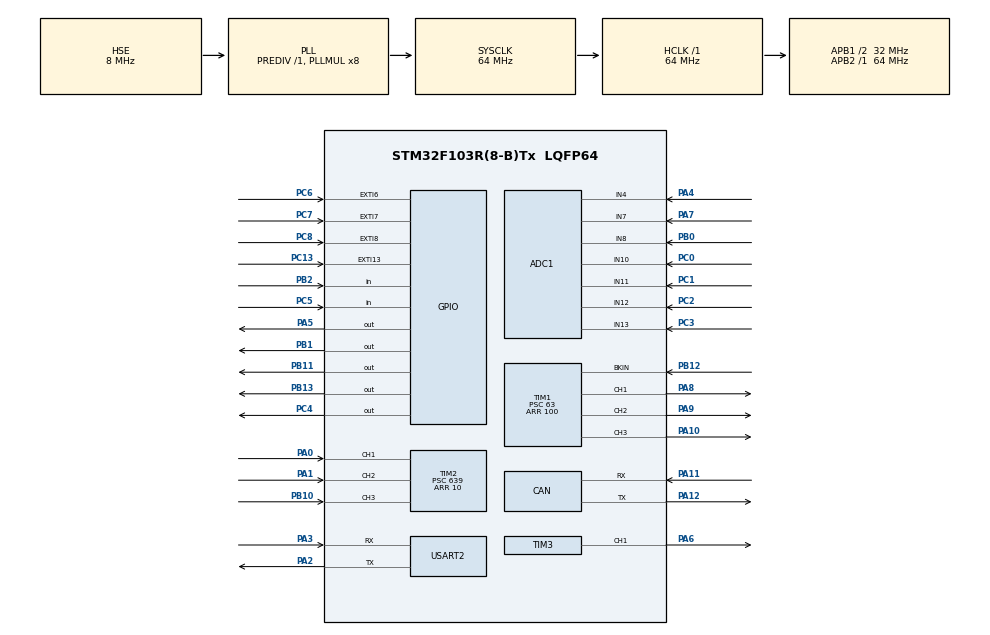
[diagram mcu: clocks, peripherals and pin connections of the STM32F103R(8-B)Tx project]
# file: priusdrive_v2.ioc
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ADC1.Channel-0\#ChannelRegularConversion=ADC_CHANNEL_4
ADC1.Channel-1\#ChannelRegularConversion=ADC_CHANNEL_7
ADC1.Channel-2\#ChannelRegularConversion=ADC_CHANNEL_8
ADC1.Channel-3\#ChannelRegularConversion=ADC_CHANNEL_10
ADC1.Channel-4\#ChannelRegularConversion=ADC_CHANNEL_11
ADC1.Channel-5\#ChannelRegularConversion=ADC_CHANNEL_12
ADC1.Channel-6\#ChannelRegularConversion=ADC_CHANNEL_13
ADC1.ContinuousConvMode=ENABLE
ADC1.DataAlign=ADC_DATAALIGN_RIGHT
ADC1.DiscontinuousConvMode=DISABLE
ADC1.EnableAnalogWatchDog=false
ADC1.EnableRegularConversion=ENABLE
ADC1.ExternalTrigConv=ADC_SOFTWARE_START
ADC1.InjNumberOfConversion=0
ADC1.NbrOfConversion=7
ADC1.NbrOfConversionFlag=1
ADC1.Rank-0\#ChannelRegularConversion=1
ADC1.Rank-1\#ChannelRegularConversion=2
ADC1.Rank-2\#ChannelRegularConversion=3
ADC1.Rank-3\#ChannelRegularConversion=4
ADC1.Rank-4\#ChannelRegularConversion=5
ADC1.Rank-5\#ChannelRegularConversion=6
ADC1.Rank-6\#ChannelRegularConversion=7
ADC1.SamplingTime-0\#ChannelRegularConversion=ADC_SAMPLETIME_28CYCLES_5
ADC1.SamplingTime-1\#ChannelRegularConversion=ADC_SAMPLETIME_28CYCLES_5
ADC1.SamplingTime-2\#ChannelRegularConversion=ADC_SAMPLETIME_28CYCLES_5
ADC1.SamplingTime-3\#ChannelRegularConversion=ADC_SAMPLETIME_28CYCLES_5
ADC1.SamplingTime-4\#ChannelRegularConversion=ADC_SAMPLETIME_28CYCLES_5
ADC1.SamplingTime-5\#ChannelRegularConversion=ADC_SAMPLETIME_28CYCLES_5
ADC1.SamplingTime-6\#ChannelRegularConversion=ADC_SAMPLETIME_28CYCLES_5
ADC1.ScanConvMode=ADC_SCAN_ENABLE
ADC1.master=1
CAN.ABOM=ENABLE
CAN.BS1=CAN_BS1_1TQ
CAN.BS2=CAN_BS2_1TQ
CAN.CalculateTimeBit=1500
CAN.CalculateTimeQuantum=500.0
Mcu.Family=STM32F1
Mcu.Name=STM32F103R(8-B)Tx
Mcu.Package=LQFP64
NVIC.ADC1_2_IRQn=true\:0\:0\:false\:false\:true\:true\:true
NVIC.PriorityGroup=NVIC_PRIORITYGROUP_4
NVIC.TIM1_TRG_COM_IRQn=true\:0\:0\:false\:false\:true\:true\:true
NVIC.TIM2_IRQn=true\:0\:0\:false\:false\:true\:true\:true
NVIC.USART2_IRQn=true\:0\:0\:false\:false\:true\:true\:true
PA0-WKUP.Signal=S_TIM2_CH1_ETR
PA1.Signal=S_TIM2_CH2
PA10.GPIO_ModeDefaultPP=GPIO_MODE_AF_PP
PA10.GPIO_Speed=GPIO_SPEED_FREQ_LOW
PA10.Signal=S_TIM1_CH3
PA11.Mode=Master
PA11.Signal=CAN_RX
PA12.Mode=Master
PA12.Signal=CAN_TX
PA13.Mode=Serial_Wire
PA13.Signal=SYS_JTMS-SWDIO
PA14.Mode=Serial_Wire
PA14.Signal=SYS_JTCK-SWCLK
PA2.GPIO_Mode=GPIO_MODE_AF_PP
PA2.GPIO_PuPd=GPIO_NOPULL
PA2.GPIO_Speed=GPIO_SPEED_FREQ_HIGH
PA2.Mode=Asynchronous
PA2.Signal=USART2_TX
PA3.GPIO_Mode=GPIO_MODE_INPUT
PA3.GPIO_PuPd=GPIO_NOPULL
PA3.GPIO_Speed=GPIO_SPEED_FREQ_LOW
PA3.Mode=Asynchronous
PA3.Signal=USART2_RX
PA4.GPIO_Mode=GPIO_MODE_ANALOG
PA4.Signal=ADCx_IN4
PA5.GPIO_ModeDefaultOutputPP=GPIO_MODE_OUTPUT_PP
PA5.GPIO_PuPd=GPIO_NOPULL
PA5.GPIO_Speed=GPIO_SPEED_FREQ_LOW
PA5.PinState=GPIO_PIN_RESET
PA5.Signal=GPIO_Output
PA6.GPIO_ModeDefaultPP=GPIO_MODE_AF_PP
PA6.GPIO_Speed=GPIO_SPEED_FREQ_LOW
PA6.Signal=S_TIM3_CH1
PA7.GPIO_Mode=GPIO_MODE_ANALOG
PA7.Signal=ADCx_IN7
PA8.GPIO_ModeDefaultPP=GPIO_MODE_AF_PP
PA8.GPIO_Speed=GPIO_SPEED_FREQ_LOW
PA8.Signal=S_TIM1_CH1
PA9.GPIO_ModeDefaultPP=GPIO_MODE_AF_PP
PA9.GPIO_Speed=GPIO_SPEED_FREQ_LOW
PA9.Signal=S_TIM1_CH2
PB0.GPIO_Mode=GPIO_MODE_ANALOG
PB0.Signal=ADCx_IN8
PB1.GPIO_ModeDefaultOutputPP=GPIO_MODE_OUTPUT_PP
PB1.GPIO_PuPd=GPIO_NOPULL
PB1.GPIO_Speed=GPIO_SPEED_FREQ_LOW
PB1.PinState=GPIO_PIN_RESET
PB1.Signal=GPIO_Output
PB10.Signal=S_TIM2_CH3
PB11.GPIO_ModeDefaultOutputPP=GPIO_MODE_OUTPUT_PP
PB11.GPIO_PuPd=GPIO_NOPULL
PB11.GPIO_Speed=GPIO_SPEED_FREQ_LOW
PB11.PinState=GPIO_PIN_RESET
PB11.Signal=GPIO_Output
PB12.Mode=Activate-Break-Input
PB12.Signal=TIM1_BKIN
PB13.GPIO_ModeDefaultOutputPP=GPIO_MODE_OUTPUT_PP
PB13.GPIO_PuPd=GPIO_NOPULL
PB13.GPIO_Speed=GPIO_SPEED_FREQ_LOW
PB13.PinState=GPIO_PIN_RESET
PB13.Signal=GPIO_Output
PB2.GPIO_Mode=GPIO_MODE_INPUT
PB2.GPIO_PuPd=GPIO_NOPULL
PB2.Signal=GPIO_Input
PB3.Signal=SYS_JTDO-TRACESWO
PC0.GPIO_Mode=GPIO_MODE_ANALOG
PC0.Signal=ADCx_IN10
PC1.GPIO_Mode=GPIO_MODE_ANALOG
PC1.Signal=ADCx_IN11
PC13-TAMPER-RTC.GPIO_ModeDefaultEXTI=GPIO_MODE_IT_RISING
PC13-TAMPER-RTC.GPIO_PuPd=GPIO_NOPULL
PC13-TAMPER-RTC.Signal=GPXTI13
PC14-OSC32_IN.Mode=LSE-External-Oscillator
PC14-OSC32_IN.Signal=RCC_OSC32_IN
PC15-OSC32_OUT.Mode=LSE-External-Oscillator
PC15-OSC32_OUT.Signal=RCC_OSC32_OUT
PC2.GPIO_Mode=GPIO_MODE_ANALOG
PC2.Signal=ADCx_IN12
PC3.GPIO_Mode=GPIO_MODE_ANALOG
PC3.Signal=ADCx_IN13
PC4.GPIO_ModeDefaultOutputPP=GPIO_MODE_OUTPUT_PP
PC4.GPIO_PuPd=GPIO_NOPULL
PC4.GPIO_Speed=GPIO_SPEED_FREQ_LOW
PC4.PinState=GPIO_PIN_RESET
PC4.Signal=GPIO_Output
PC5.GPIO_Mode=GPIO_MODE_INPUT
PC5.GPIO_PuPd=GPIO_NOPULL
PC5.Signal=GPIO_Input
PC6.GPIO_ModeDefaultEXTI=GPIO_MODE_IT_RISING
PC6.GPIO_PuPd=GPIO_NOPULL
PC6.Signal=GPXTI6
PC7.GPIO_ModeDefaultEXTI=GPIO_MODE_IT_RISING
PC7.GPIO_PuPd=GPIO_NOPULL
PC7.Signal=GPXTI7
PC8.GPIO_ModeDefaultEXTI=GPIO_MODE_IT_RISING
PC8.GPIO_PuPd=GPIO_NOPULL
PC8.Signal=GPXTI8
PD0-OSC_IN.Mode=HSE-External-Clock-Source
PD0-OSC_IN.Signal=RCC_OSC_IN
PD1-OSC_OUT.Mode=HSE-External-Clock-Source
PD1-OSC_OUT.Signal=RCC_OSC_OUT
ProjectManager.HeapSize=0x200
ProjectManager.StackSize=0x400
ProjectManager.TargetToolchain=SW4STM32
RCC.ADCPresc=RCC_ADCPCLK2_DIV8
RCC.AHBFreq_Value=64000000
RCC.APB1CLKDivider=RCC_HCLK_DIV2
RCC.APB1Freq_Value=32000000
RCC.APB1TimFreq_Value=64000000
RCC.APB2Freq_Value=64000000
RCC.APB2TimFreq_Value=64000000
RCC.HCLKFreq_Value=64000000
RCC.PLLMUL=RCC_PLL_MUL8
RCC.PLLSourceVirtual=RCC_PLLSOURCE_HSE
RCC.RTCClockSelection=RCC_RTCCLKSOURCE_LSE
RCC.SYSCLKFreq_VALUE=64000000
RCC.SYSCLKSource=RCC_SYSCLKSOURCE_PLLCLK
RCC.USBFreq_Value=64000000
SH.ADCx_IN10.0=ADC1_IN10,IN10
SH.ADCx_IN11.0=ADC1_IN11,IN11
SH.ADCx_IN12.0=ADC1_IN12,IN12
SH.ADCx_IN13.0=ADC1_IN13,IN13
SH.ADCx_IN4.0=ADC1_IN4,IN4
SH.ADCx_IN7.0=ADC1_IN7,IN7
SH.ADCx_IN8.0=ADC1_IN8,IN8
SH.S_TIM1_CH1.0=TIM1_CH1,PWM Generation1 CH1
SH.S_TIM1_CH2.0=TIM1_CH2,PWM Generation2 CH2
SH.S_TIM1_CH3.0=TIM1_CH3,PWM Generation3 CH3
SH.S_TIM2_CH1_ETR.0=TIM2_CH1,Xored_Inputs_Hall_Sensor_Interface
SH.S_TIM2_CH2.0=TIM2_CH2,Xored_Inputs_Hall_Sensor_Interface
SH.S_TIM2_CH3.0=TIM2_CH3,Xored_Inputs_Hall_Sensor_Interface
SH.S_TIM3_CH1.0=TIM3_CH1,PWM Generation1 CH1
TIM1.AutomaticOutput=TIM_AUTOMATICOUTPUT_ENABLE
TIM1.BreakState=TIM_BREAK_DISABLE
TIM1.Channel-PWM\ Generation1\ CH1=TIM_CHANNEL_1
TIM1.Channel-PWM\ Generation2\ CH2=TIM_CHANNEL_2
TIM1.Channel-PWM\ Generation3\ CH3=TIM_CHANNEL_3
TIM1.Period=100
TIM1.Prescaler=63
TIM1.TIM_MasterOutputTrigger=TIM_TRGO_OC2REF
TIM2.IC1Filter=1
TIM2.IC1Prescaler=TIM_ICPSC_DIV1
TIM2.Period=10
TIM2.Prescaler=639
TIM3.Channel-PWM\ Generation1\ CH1=TIM_CHANNEL_1
TIM3.Period=500
TIM3.Prescaler=63
USART2.VirtualMode=VM_ASYNC
VP_TIM1_VS_ClockSourceINT.Mode=Internal
VP_TIM1_VS_ClockSourceITR.Mode=TriggerSource_ITR2
VP_TIM1_VS_ControllerModeTrigger.Mode=Trigger Mode
VP_TIM2_VS_ClockSourceINT.Mode=Internal
board=NUCLEO-F103RB

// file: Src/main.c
/* USER CODE BEGIN Header */
/**
  ******************************************************************************
  * @file           : main.c
  * @brief          : Main program body
  ******************************************************************************
  * @attention
  *
  * <h2><center>&copy; Copyright (c) 2019 STMicroelectronics.
  * All rights reserved.</center></h2>
  *
  * This software component is licensed by ST under BSD 3-Clause license,
  * the "License"; You may not use this file except in compliance with the
  * License. You may obtain a copy of the License at:
  *                        opensource.org/licenses/BSD-3-Clause
  *
  ******************************************************************************
  */
/* USER CODE END Header */

#include "main.h"
#include "adc.h"
#include "can.h"
#include "tim.h"
#include "usart.h"
#include "gpio.h"

/* USER CODE BEGIN Includes */
#include <stdint.h>
#include "printf.h"
#include <string.h>

/* USER CODE END Includes */

/* USER CODE BEGIN PV */
/* Private variables ---------------------------------------------------------*/
uint8_t HallPos = 0;

uint8_t step = 0;

uint8_t pwm = 170;

#define PWM_INVERTED

/*
static const uint8_t COMM_TABLE[8][3] = {
		//U, V, W
		{0, 0, 0},
		{0, 0, 1},
		{0, 1, 1},
		{0, 1, 0},
		{1, 1, 0},
		{1, 0, 0},
		{1, 0, 1},
		{1, 1, 1}
};
*/

static const uint8_t COMM_TABLE[8][3] = {
		//U, V, W
		{0, 0, 0},
		{1, 0, 0},
		{1, 1, 0},
		{0, 1, 0},
		{0, 1, 1},
		{0, 0, 1},
		{1, 0, 1},
		{0, 0, 0}
};

/* USER CODE END PV */

void SystemClock_Config(void);
/* USER CODE BEGIN PFP */
/* Private function prototypes -----------------------------------------------*/
void UART_putc(void* p, char c);

/* USER CODE END PFP */

int main(void)
{

  /* MCU Configuration--------------------------------------------------------*/

  /* Reset of all peripherals, Initializes the Flash interface and the Systick. */
  HAL_Init();

  /* Configure the system clock */
  SystemClock_Config();

  /* Initialize all configured peripherals */
  MX_GPIO_Init();
  MX_USART2_UART_Init();
  MX_TIM2_Init();
  MX_TIM1_Init();
  MX_TIM3_Init();
  MX_CAN_Init();
  MX_ADC1_Init();
  HAL_TIMEx_ConfigCommutationEvent_IT(&htim1, TIM_TS_ITR1, TIM_COMMUTATION_TRGI);
  /* USER CODE BEGIN 2 */

  init_printf(NULL, UART_putc);

  DBG_PRINTF("Done peripheral init\r\n");

  TIM1->CCR1 = pwm;
  TIM1->CCR2 = pwm;
  TIM1->CCR3 = pwm;

  HAL_TIM_PWM_Start(&htim1, TIM_CHANNEL_1);
  HAL_TIM_PWM_Start(&htim1, TIM_CHANNEL_2);
  HAL_TIM_PWM_Start(&htim1, TIM_CHANNEL_3);

  HAL_TIMEx_HallSensor_Start_IT(&htim2);

  /* USER CODE END 2 */

  /* Infinite loop */
  while (1)
  {

    /* USER CODE BEGIN 3 */

	  	uint8_t BU = COMM_TABLE[step][0];
	  	uint8_t BV = COMM_TABLE[step][1];
	  	uint8_t BW = COMM_TABLE[step][2];

	  	if(!BU) HAL_TIM_PWM_Stop(&htim1, TIM_CHANNEL_1);
	  	if(!BV) HAL_TIM_PWM_Stop(&htim1, TIM_CHANNEL_2);
	  	if(!BW) HAL_TIM_PWM_Stop(&htim1, TIM_CHANNEL_3);

	  	if(BU)
	  	{
	  		HAL_TIM_PWM_Start(&htim1, TIM_CHANNEL_1);
	  	}

	  	if(BV)
	  	{
	  		HAL_TIM_PWM_Start(&htim1, TIM_CHANNEL_2);
	  	}

	  	if(BW)
	  	{
	  		HAL_TIM_PWM_Start(&htim1, TIM_CHANNEL_3);
	  	}

	  	TIM1->CCR1 = pwm;
	  	TIM1->CCR2 = pwm;
	  	TIM1->CCR3 = pwm;

  }
  /* USER CODE END 3 */
}

void SystemClock_Config(void)
{
  RCC_OscInitTypeDef RCC_OscInitStruct = {0};
  RCC_ClkInitTypeDef RCC_ClkInitStruct = {0};
  RCC_PeriphCLKInitTypeDef PeriphClkInit = {0};

  /** Initializes the CPU, AHB and APB busses clocks
  */
  RCC_OscInitStruct.OscillatorType = RCC_OSCILLATORTYPE_HSE;
  RCC_OscInitStruct.HSEState = RCC_HSE_BYPASS;
  RCC_OscInitStruct.HSEPredivValue = RCC_HSE_PREDIV_DIV1;
  RCC_OscInitStruct.HSIState = RCC_HSI_ON;
  RCC_OscInitStruct.PLL.PLLState = RCC_PLL_ON;
  RCC_OscInitStruct.PLL.PLLSource = RCC_PLLSOURCE_HSE;
  RCC_OscInitStruct.PLL.PLLMUL = RCC_PLL_MUL8;
  if (HAL_RCC_OscConfig(&RCC_OscInitStruct) != HAL_OK)
  {
    Error_Handler();
  }
  /** Initializes the CPU, AHB and APB busses clocks
  */
  RCC_ClkInitStruct.ClockType = RCC_CLOCKTYPE_HCLK|RCC_CLOCKTYPE_SYSCLK
                              |RCC_CLOCKTYPE_PCLK1|RCC_CLOCKTYPE_PCLK2;
  RCC_ClkInitStruct.SYSCLKSource = RCC_SYSCLKSOURCE_PLLCLK;
  RCC_ClkInitStruct.AHBCLKDivider = RCC_SYSCLK_DIV1;
  RCC_ClkInitStruct.APB1CLKDivider = RCC_HCLK_DIV2;
  RCC_ClkInitStruct.APB2CLKDivider = RCC_HCLK_DIV1;

  if (HAL_RCC_ClockConfig(&RCC_ClkInitStruct, FLASH_LATENCY_2) != HAL_OK)
  {
    Error_Handler();
  }
  PeriphClkInit.PeriphClockSelection = RCC_PERIPHCLK_ADC;
  PeriphClkInit.AdcClockSelection = RCC_ADCPCLK2_DIV8;
  if (HAL_RCCEx_PeriphCLKConfig(&PeriphClkInit) != HAL_OK)
  {
    Error_Handler();
  }
}

/* USER CODE BEGIN 4 */

void HAL_TIMEx_CommutationCallback(TIM_HandleTypeDef *htim)
{
	DBG_PRINTF("Commutation\r\n");

	//Timer commutation callback
	if (htim->Instance == TIM1)
	{
		DBG_PRINTF("Commutation interrupt fired on tim1\r\n");
	}
}

void UART_putc(void* p, char c)
{
	HAL_UART_Transmit(&huart2, &c, 1, 100);
}

void HAL_SYSTICK_Callback()
{

	/*
	step++;

	if(step == 7)
	{
		step = 1;
	}
	*/

	/*
	uint8_t BU = COMM_TABLE[step][0];
	uint8_t BV = COMM_TABLE[step][1];
	uint8_t BW = COMM_TABLE[step][2];

	if(!BU) HAL_TIM_PWM_Stop(&htim1, TIM_CHANNEL_1);
	if(!BV) HAL_TIM_PWM_Stop(&htim1, TIM_CHANNEL_2);
	if(!BW) HAL_TIM_PWM_Stop(&htim1, TIM_CHANNEL_3);

	if(BU)
	{
		HAL_TIM_PWM_Start(&htim1, TIM_CHANNEL_1);
	}

	if(BV)
	{
		HAL_TIM_PWM_Start(&htim1, TIM_CHANNEL_2);
	}

	if(BW)
	{
		HAL_TIM_PWM_Start(&htim1, TIM_CHANNEL_3);
	}
	*/

	//step++;

	/*
	TIM1->CCR1 = pwm;
	TIM1->CCR2 = pwm;
	TIM1->CCR3 = pwm;
	*/
}

void HAL_TIM_IC_CaptureCallback(TIM_HandleTypeDef *htim)
{
	if(htim->Instance == TIM2)
	{
		 HAL_GPIO_TogglePin(GPIOA, GPIO_PIN_5);
		//DBG_PRINTF("hall timer callback, step %d\r\n", step);

		step++;

		if(step == 7)
		{
			step = 1;
		}

	}
}

/* USER CODE END 4 */

void Error_Handler(void)
{
  while(1)
  {
  }
}

/************************ (C) COPYRIGHT STMicroelectronics *****END OF FILE****/
